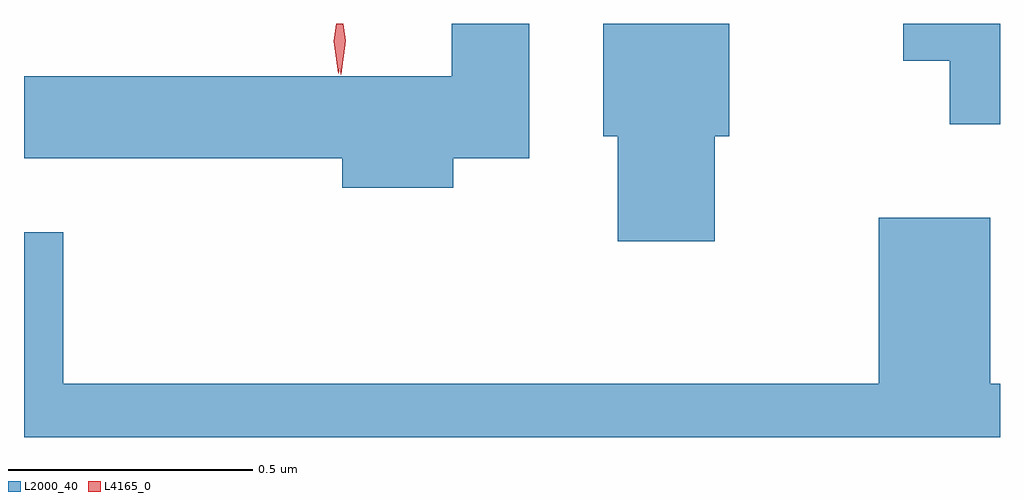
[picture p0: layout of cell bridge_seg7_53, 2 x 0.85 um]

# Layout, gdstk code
import gdstk
lib = gdstk.Library(unit=1e-6, precision=1e-09)
def P(c, l, *ps):  # polygons
    for p in ps: c.add(gdstk.Polygon(p, *l))
L2000_40 = (2000, 40)
L4165_0 = (4165, 0)

bridge_seg7_53 = lib.new_cell('bridge_seg7_53')
P(bridge_seg7_53, L2000_40, [(1537.339,1806.066),(1537.494,1806.066),(1537.494,1806.342),(1537.336,1806.342),(1537.336,1806.234),(1536.459,1806.234),(1536.459,1806.066),(1537.111,1806.066),(1537.111,1806.006),(1537.339,1806.006)],
  [(1537.874,1806.111),(1537.904,1806.111),(1537.904,1806.342),(1537.646,1806.342),(1537.646,1806.111),(1537.676,1806.111),(1537.676,1805.896),(1537.874,1805.896)],
  [(1538.459,1806.342),(1538.261,1806.342),(1538.261,1806.266),(1538.356,1806.266),(1538.356,1806.136),(1538.459,1806.136)],
  [(1538.459,1805.604),(1538.439,1805.604),(1538.439,1805.944),(1538.211,1805.944),(1538.211,1805.604),(1536.539,1805.604),(1536.539,1805.914),(1536.459,1805.914),(1536.459,1805.494),(1538.459,1805.494)])
P(bridge_seg7_53, L4165_0, [(1537.103,1806.24),(1537.094,1806.306),(1537.099,1806.342),(1537.109,1806.342),(1537.114,1806.306),(1537.104,1806.24)],
  [(1537.108,1806.237),(1537.108,1806.238),(1537.098,1806.307),(1537.103,1806.342),(1537.113,1806.342),(1537.118,1806.307),(1537.109,1806.238)])

lib.write_gds('bridge_seg7_53.gds')
